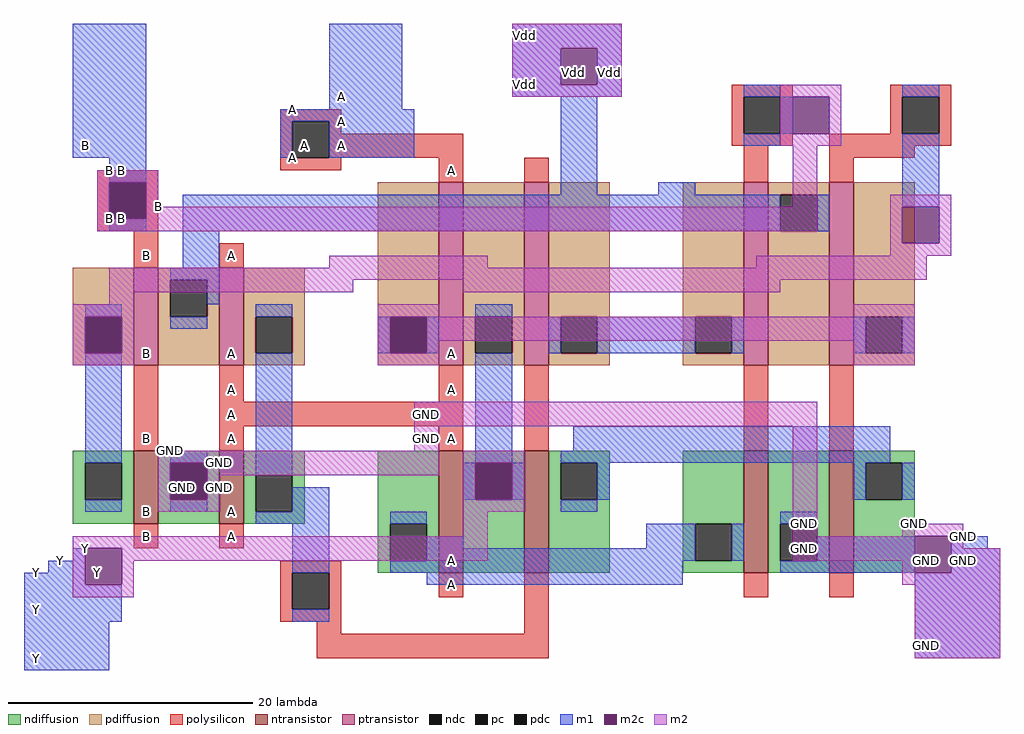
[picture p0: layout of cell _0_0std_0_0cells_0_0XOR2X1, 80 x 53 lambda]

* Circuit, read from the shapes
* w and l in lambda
.subckt _0_0std_0_0cells_0_0XOR2X1 A B Y
M1 GND B n1 VSUBS nfet w=6 l=2
M2 n2 A GND VSUBS nfet w=6 l=2
M3 Y A n3 VSUBS nfet w=10 l=2
M4 n4 n2 Y VSUBS nfet w=10 l=2
M5 GND B n3 VSUBS nfet w=10 l=2
M6 n4 n1 GND VSUBS nfet w=10 l=2
M7 Vdd B n1 NWELL pfet w=8 l=2
M8 n2 A Vdd NWELL pfet w=8 l=2
M9 Y A n5 NWELL pfet w=15 l=2
M10 n6 n2 Y NWELL pfet w=15 l=2
M11 Vdd B n6 NWELL pfet w=15 l=2
M12 n7 n1 Vdd NWELL pfet w=15 l=2
.ends

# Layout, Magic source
magic
tech sky130l
<< ndiffusion >>
rect 8 19 13 20
rect 8 16 9 19
rect 12 16 13 19
rect 8 14 13 16
rect 15 19 20 20
rect 15 16 16 19
rect 19 16 20 19
rect 15 14 20 16
rect 22 18 27 20
rect 22 15 23 18
rect 26 15 27 18
rect 22 14 27 15
rect 33 14 38 20
rect 33 11 34 14
rect 37 11 38 14
rect 33 10 38 11
rect 40 19 45 20
rect 40 16 41 19
rect 44 16 45 19
rect 40 10 45 16
rect 47 19 52 20
rect 47 16 48 19
rect 51 16 52 19
rect 47 10 52 16
rect 58 14 63 20
rect 58 11 59 14
rect 62 11 63 14
rect 58 10 63 11
rect 65 14 70 20
rect 65 11 66 14
rect 69 11 70 14
rect 65 10 70 11
rect 72 19 77 20
rect 72 16 73 19
rect 76 16 77 19
rect 72 10 77 16
<< ndc >>
rect 9 16 12 19
rect 16 16 19 19
rect 23 15 26 18
rect 34 11 37 14
rect 41 16 44 19
rect 48 16 51 19
rect 59 11 62 14
rect 66 11 69 14
rect 73 16 76 19
<< ntransistor >>
rect 13 14 15 20
rect 20 14 22 20
rect 38 10 40 20
rect 45 10 47 20
rect 63 10 65 20
rect 70 10 72 20
<< pdiffusion >>
rect 8 31 13 35
rect 8 28 9 31
rect 12 28 13 31
rect 8 27 13 28
rect 15 34 20 35
rect 15 31 16 34
rect 19 31 20 34
rect 15 27 20 31
rect 22 31 27 35
rect 22 28 23 31
rect 26 28 27 31
rect 22 27 27 28
rect 33 31 38 42
rect 33 28 34 31
rect 37 28 38 31
rect 33 27 38 28
rect 40 31 45 42
rect 40 28 41 31
rect 44 28 45 31
rect 40 27 45 28
rect 47 31 52 42
rect 47 28 48 31
rect 51 28 52 31
rect 47 27 52 28
rect 58 31 63 42
rect 58 28 59 31
rect 62 28 63 31
rect 58 27 63 28
rect 65 41 70 42
rect 65 38 66 41
rect 69 38 70 41
rect 65 27 70 38
rect 72 31 77 42
rect 72 28 73 31
rect 76 28 77 31
rect 72 27 77 28
<< pdc >>
rect 9 28 12 31
rect 16 31 19 34
rect 23 28 26 31
rect 34 28 37 31
rect 41 28 44 31
rect 48 28 51 31
rect 59 28 62 31
rect 66 38 69 41
rect 73 28 76 31
<< ptransistor >>
rect 13 27 15 35
rect 20 27 22 35
rect 38 27 40 42
rect 45 27 47 42
rect 63 27 65 42
rect 70 27 72 42
<< polysilicon >>
rect 62 49 67 50
rect 25 47 30 48
rect 25 44 26 47
rect 29 46 30 47
rect 62 46 63 49
rect 66 46 67 49
rect 75 49 80 50
rect 75 46 76 49
rect 79 46 80 49
rect 29 44 40 46
rect 62 45 67 46
rect 70 45 80 46
rect 25 43 30 44
rect 10 42 15 43
rect 38 42 40 44
rect 45 42 47 44
rect 63 42 65 45
rect 70 44 77 45
rect 70 42 72 44
rect 10 39 11 42
rect 14 39 15 42
rect 10 38 15 39
rect 13 35 15 38
rect 20 35 22 37
rect 13 20 15 27
rect 20 24 22 27
rect 38 24 40 27
rect 20 22 40 24
rect 20 20 22 22
rect 38 20 40 22
rect 45 20 47 27
rect 63 20 65 27
rect 70 20 72 27
rect 13 12 15 14
rect 20 12 22 14
rect 25 10 30 11
rect 25 7 26 10
rect 29 7 30 10
rect 38 8 40 10
rect 25 6 30 7
rect 28 5 30 6
rect 45 5 47 10
rect 63 8 65 10
rect 70 8 72 10
rect 28 3 47 5
<< pc >>
rect 26 44 29 47
rect 63 46 66 49
rect 76 46 79 49
rect 11 39 14 42
rect 26 7 29 10
<< m1 >>
rect 8 44 14 55
rect 29 48 35 55
rect 44 53 53 55
rect 44 50 48 53
rect 51 50 53 53
rect 44 49 53 50
rect 63 49 66 50
rect 76 49 79 50
rect 25 47 36 48
rect 25 44 26 47
rect 29 44 36 47
rect 11 42 14 44
rect 48 41 51 49
rect 66 46 67 49
rect 63 45 66 46
rect 56 41 59 42
rect 11 38 14 39
rect 17 38 66 41
rect 69 38 70 41
rect 76 40 79 46
rect 17 35 20 38
rect 16 34 20 35
rect 9 31 12 32
rect 19 32 20 34
rect 16 30 19 31
rect 23 31 26 32
rect 41 31 44 32
rect 9 19 12 28
rect 33 28 34 31
rect 37 28 38 31
rect 47 28 48 31
rect 51 28 59 31
rect 62 28 63 31
rect 72 28 73 31
rect 76 28 77 31
rect 9 15 12 16
rect 16 19 19 20
rect 16 15 19 16
rect 23 18 26 28
rect 41 19 44 28
rect 49 20 75 22
rect 48 19 75 20
rect 26 15 29 17
rect 40 16 41 19
rect 44 16 45 19
rect 51 16 52 19
rect 72 16 73 19
rect 76 16 77 19
rect 48 15 51 16
rect 23 14 29 15
rect 8 11 9 12
rect 6 10 9 11
rect 4 9 9 10
rect 4 6 12 9
rect 26 10 29 14
rect 34 14 37 15
rect 66 14 69 15
rect 37 12 40 13
rect 55 12 59 14
rect 37 11 59 12
rect 62 11 63 14
rect 69 11 77 13
rect 34 10 58 11
rect 66 10 77 11
rect 80 12 83 13
rect 80 10 84 12
rect 37 9 58 10
rect 26 6 29 7
rect 4 2 11 6
rect 77 3 84 10
<< m2c >>
rect 48 50 51 53
rect 11 39 14 42
rect 67 46 70 49
rect 76 37 79 40
rect 9 28 12 31
rect 34 28 37 31
rect 16 16 19 19
rect 41 16 44 19
rect 9 9 12 12
rect 77 10 80 13
<< m2 >>
rect 44 53 53 55
rect 44 50 48 53
rect 51 50 53 53
rect 44 49 53 50
rect 66 49 71 50
rect 66 46 67 49
rect 70 46 71 49
rect 66 45 71 46
rect 10 42 15 43
rect 10 39 11 42
rect 14 40 15 42
rect 67 40 69 45
rect 14 39 69 40
rect 10 38 69 39
rect 75 40 80 41
rect 75 37 76 40
rect 79 37 80 40
rect 75 36 80 37
rect 29 35 42 36
rect 64 35 78 36
rect 11 34 78 35
rect 11 33 31 34
rect 40 33 66 34
rect 11 32 13 33
rect 8 31 13 32
rect 8 28 9 31
rect 12 28 13 31
rect 8 27 13 28
rect 33 31 38 32
rect 72 31 77 32
rect 33 28 34 31
rect 37 29 77 31
rect 37 28 38 29
rect 33 27 38 28
rect 72 27 77 29
rect 36 22 69 24
rect 36 20 38 22
rect 15 19 38 20
rect 15 16 16 19
rect 19 18 38 19
rect 40 19 45 20
rect 19 16 20 18
rect 15 15 20 16
rect 40 16 41 19
rect 44 16 45 19
rect 40 15 45 16
rect 40 13 42 15
rect 8 12 42 13
rect 8 9 9 12
rect 12 11 42 12
rect 67 13 69 22
rect 76 13 81 14
rect 67 11 77 13
rect 12 9 13 11
rect 76 10 77 11
rect 80 12 81 13
rect 80 10 84 12
rect 76 9 84 10
rect 8 8 13 9
rect 77 3 84 9
<< labels >>
rlabel polysilicon 39 21 39 21 3 A
rlabel polysilicon 39 25 39 25 3 A
rlabel ptransistor 39 28 39 28 3 A
rlabel polysilicon 39 43 39 43 3 A
rlabel polysilicon 30 47 30 47 3 A
rlabel polysilicon 39 9 39 9 3 A
rlabel polysilicon 26 44 26 44 3 A
rlabel ntransistor 39 11 39 11 3 A
rlabel polysilicon 21 36 21 36 3 A
rlabel polysilicon 21 13 21 13 3 A
rlabel ntransistor 21 15 21 15 3 A
rlabel polysilicon 21 21 21 21 3 A
rlabel polysilicon 21 23 21 23 3 A
rlabel polysilicon 21 25 21 25 3 A
rlabel ptransistor 21 28 21 28 3 A
rlabel polysilicon 15 40 15 40 3 B
rlabel polysilicon 14 36 14 36 3 B
rlabel polysilicon 14 13 14 13 3 B
rlabel ntransistor 14 15 14 15 3 B
rlabel polysilicon 14 21 14 21 3 B
rlabel ptransistor 14 28 14 28 3 B
rlabel polysilicon 11 39 11 39 3 B
rlabel polysilicon 11 40 11 40 3 B
rlabel polysilicon 11 43 11 43 3 B
rlabel m1 30 45 30 45 3 A
port 1 e
rlabel m1 30 49 30 49 3 A
port 1 e
rlabel pc 27 45 27 45 3 A
port 1 e
rlabel m1 26 45 26 45 3 A
port 1 e
rlabel m1 26 48 26 48 3 A
port 1 e
rlabel m1 12 39 12 39 3 B
port 2 e
rlabel pc 12 40 12 40 3 B
port 2 e
rlabel m1 12 43 12 43 3 B
port 2 e
rlabel m1 9 12 9 12 3 Y
port 3 e
rlabel m1 9 45 9 45 3 B
port 2 e
rlabel m2c 10 10 10 10 3 Y
port 3 e
rlabel m1 7 11 7 11 3 Y
port 3 e
rlabel m1 5 3 5 3 3 Y
port 3 e
rlabel m1 5 7 5 7 3 Y
port 3 e
rlabel m1 5 10 5 10 3 Y
port 3 e
rlabel m2 81 11 81 11 3 GND
rlabel m2 81 13 81 13 3 GND
rlabel m2 78 4 78 4 3 GND
rlabel m2c 78 11 78 11 3 GND
rlabel m2 77 14 77 14 3 GND
rlabel m2 77 10 77 10 3 GND
rlabel m2 77 11 77 11 3 GND
rlabel m2 68 12 68 12 3 GND
rlabel m2 68 14 68 14 3 GND
rlabel m2 37 21 37 21 3 GND
rlabel m2 37 23 37 23 3 GND
rlabel m2 20 17 20 17 3 GND
rlabel m2 20 19 20 19 3 GND
rlabel m2 52 51 52 51 3 Vdd
rlabel m2c 17 17 17 17 3 GND
rlabel m2c 49 51 49 51 3 Vdd
rlabel m2 16 16 16 16 3 GND
rlabel m2 16 17 16 17 3 GND
rlabel m2 16 20 16 20 3 GND
rlabel m2 45 50 45 50 3 Vdd
rlabel m2 45 51 45 51 3 Vdd
rlabel m2 45 54 45 54 3 Vdd
<< end >>
